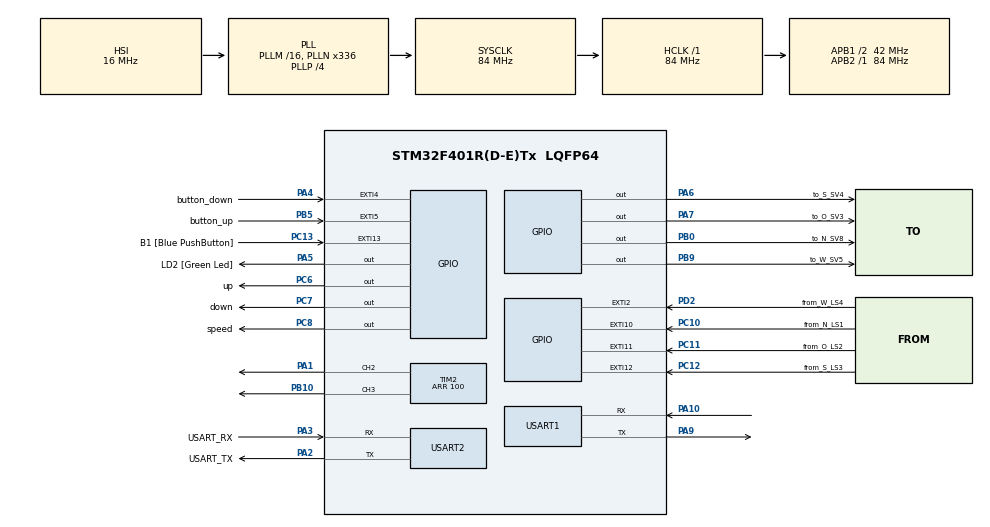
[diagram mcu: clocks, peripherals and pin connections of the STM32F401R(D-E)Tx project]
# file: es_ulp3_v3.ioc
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Dma.Request0=TIM2_CH3/UP
Dma.Request1=TIM2_CH2/CH4
Dma.TIM2_CH2/CH4.1.Direction=DMA_MEMORY_TO_PERIPH
Dma.TIM2_CH2/CH4.1.FIFOMode=DMA_FIFOMODE_DISABLE
Dma.TIM2_CH2/CH4.1.Instance=DMA1_Stream6
Dma.TIM2_CH2/CH4.1.MemDataAlignment=DMA_MDATAALIGN_WORD
Dma.TIM2_CH2/CH4.1.MemInc=DMA_MINC_ENABLE
Dma.TIM2_CH2/CH4.1.Mode=DMA_NORMAL
Dma.TIM2_CH2/CH4.1.PeriphDataAlignment=DMA_PDATAALIGN_WORD
Dma.TIM2_CH2/CH4.1.PeriphInc=DMA_PINC_DISABLE
Dma.TIM2_CH2/CH4.1.Priority=DMA_PRIORITY_VERY_HIGH
Dma.TIM2_CH3/UP.0.Direction=DMA_MEMORY_TO_PERIPH
Dma.TIM2_CH3/UP.0.FIFOMode=DMA_FIFOMODE_DISABLE
Dma.TIM2_CH3/UP.0.Instance=DMA1_Stream1
Dma.TIM2_CH3/UP.0.MemDataAlignment=DMA_MDATAALIGN_WORD
Dma.TIM2_CH3/UP.0.MemInc=DMA_MINC_ENABLE
Dma.TIM2_CH3/UP.0.Mode=DMA_NORMAL
Dma.TIM2_CH3/UP.0.PeriphDataAlignment=DMA_PDATAALIGN_WORD
Dma.TIM2_CH3/UP.0.PeriphInc=DMA_PINC_DISABLE
Dma.TIM2_CH3/UP.0.Priority=DMA_PRIORITY_LOW
Mcu.Family=STM32F4
Mcu.Name=STM32F401R(D-E)Tx
Mcu.Package=LQFP64
NVIC.DMA1_Stream1_IRQn=true\:0\:0\:false\:false\:true\:false\:true\:true
NVIC.DMA1_Stream6_IRQn=true\:0\:0\:false\:false\:true\:false\:true\:true
NVIC.EXTI15_10_IRQn=true\:0\:0\:false\:false\:true\:true\:true\:true
NVIC.EXTI2_IRQn=true\:0\:0\:false\:false\:true\:true\:true\:true
NVIC.EXTI4_IRQn=true\:0\:0\:false\:false\:true\:true\:true\:true
NVIC.EXTI9_5_IRQn=true\:0\:0\:false\:false\:true\:true\:true\:true
NVIC.FLASH_IRQn=true\:0\:0\:false\:false\:true\:true\:true\:true
NVIC.FPU_IRQn=true\:0\:0\:false\:false\:true\:true\:false\:true
NVIC.PVD_IRQn=true\:0\:0\:false\:false\:true\:true\:true\:true
NVIC.PriorityGroup=NVIC_PRIORITYGROUP_0
NVIC.RCC_IRQn=true\:0\:0\:false\:false\:true\:true\:false\:true
NVIC.USART1_IRQn=true\:0\:0\:false\:false\:true\:true\:true\:true
NVIC.USART2_IRQn=true\:0\:0\:false\:false\:true\:true\:true\:true
PA1.Signal=S_TIM2_CH2
PA10.Mode=Asynchronous
PA10.Signal=USART1_RX
PA13.GPIO_Label=TMS
PA13.Mode=Serial_Wire
PA13.Signal=SYS_JTMS-SWDIO
PA14.GPIO_Label=TCK
PA14.Mode=Serial_Wire
PA14.Signal=SYS_JTCK-SWCLK
PA2.GPIO_Label=USART_TX
PA2.GPIO_Mode=GPIO_MODE_AF_PP
PA2.GPIO_PuPd=GPIO_NOPULL
PA2.GPIO_Speed=GPIO_SPEED_FREQ_LOW
PA2.Mode=Asynchronous
PA2.Signal=USART2_TX
PA3.GPIO_Label=USART_RX
PA3.GPIO_Mode=GPIO_MODE_AF_PP
PA3.GPIO_PuPd=GPIO_NOPULL
PA3.GPIO_Speed=GPIO_SPEED_FREQ_LOW
PA3.Mode=Asynchronous
PA3.Signal=USART2_RX
PA4.GPIO_Label=button_down
PA4.GPIO_ModeDefaultEXTI=GPIO_MODE_IT_FALLING
PA4.GPIO_PuPd=GPIO_NOPULL
PA4.Signal=GPXTI4
PA5.GPIO_Label=LD2 [Green Led]
PA5.GPIO_Mode=GPIO_MODE_OUTPUT_PP
PA5.GPIO_PuPd=GPIO_NOPULL
PA5.GPIO_Speed=GPIO_SPEED_FREQ_LOW
PA5.Signal=GPIO_Output
PA6.GPIO_Label=to_S_SV4
PA6.Signal=GPIO_Output
PA7.GPIO_Label=to_O_SV3
PA7.Signal=GPIO_Output
PA9.Mode=Asynchronous
PA9.Signal=USART1_TX
PB0.GPIO_Label=to_N_SV8
PB0.Signal=GPIO_Output
PB10.Signal=S_TIM2_CH3
PB3.GPIO_Label=SWO
PB3.Signal=SYS_JTDO-SWO
PB5.GPIO_Label=button_up
PB5.GPIO_ModeDefaultEXTI=GPIO_MODE_IT_FALLING
PB5.Signal=GPXTI5
PB9.GPIO_Label=to_W_SV5
PB9.Signal=GPIO_Output
PC10.GPIO_Label=from_N_LS1
PC10.GPIO_PuPd=GPIO_PULLDOWN
PC10.Signal=GPXTI10
PC11.GPIO_Label=from_O_LS2
PC11.GPIO_PuPd=GPIO_PULLDOWN
PC11.Signal=GPXTI11
PC12.GPIO_Label=from_S_LS3
PC12.GPIO_PuPd=GPIO_PULLDOWN
PC12.Signal=GPXTI12
PC13-ANTI_TAMP.GPIO_Label=B1 [Blue PushButton]
PC13-ANTI_TAMP.GPIO_ModeDefaultEXTI=GPIO_MODE_IT_FALLING
PC13-ANTI_TAMP.GPIO_PuPd=GPIO_NOPULL
PC13-ANTI_TAMP.Signal=GPXTI13
PC14-OSC32_IN.Mode=LSE-External-Oscillator
PC14-OSC32_IN.Signal=RCC_OSC32_IN
PC15-OSC32_OUT.Mode=LSE-External-Oscillator
PC15-OSC32_OUT.Signal=RCC_OSC32_OUT
PC6.GPIO_Label=up
PC6.Signal=GPIO_Output
PC7.GPIO_Label=down
PC7.Signal=GPIO_Output
PC8.GPIO_Label=speed
PC8.Signal=GPIO_Output
PD2.GPIO_Label=from_W_LS4
PD2.GPIO_PuPd=GPIO_PULLDOWN
PD2.Signal=GPXTI2
PH0\ -\ OSC_IN.Mode=HSE-External-Clock-Source
PH0\ -\ OSC_IN.Signal=RCC_OSC_IN
PH1\ -\ OSC_OUT.Mode=HSE-External-Clock-Source
PH1\ -\ OSC_OUT.Signal=RCC_OSC_OUT
ProjectManager.HeapSize=0x200
ProjectManager.StackSize=0x400
ProjectManager.TargetToolchain=STM32CubeIDE
RCC.48MHZClocksFreq_Value=48000000
RCC.AHBFreq_Value=84000000
RCC.APB1CLKDivider=RCC_HCLK_DIV2
RCC.APB1Freq_Value=42000000
RCC.APB1TimFreq_Value=84000000
RCC.APB2Freq_Value=84000000
RCC.APB2TimFreq_Value=84000000
RCC.CortexFreq_Value=84000000
RCC.HCLKFreq_Value=84000000
RCC.HSE_VALUE=8000000
RCC.HSI_VALUE=16000000
RCC.PLLN=336
RCC.PLLP=RCC_PLLP_DIV4
RCC.PLLQ=7
RCC.SYSCLKFreq_VALUE=84000000
RCC.SYSCLKSource=RCC_SYSCLKSOURCE_PLLCLK
RCC.VCOOutputFreq_Value=336000000
SH.S_TIM2_CH2.0=TIM2_CH2,PWM Generation2 CH2
SH.S_TIM2_CH3.0=TIM2_CH3,PWM Generation3 CH3
TIM2.Channel-PWM\ Generation2\ CH2=TIM_CHANNEL_2
TIM2.Channel-PWM\ Generation3\ CH3=TIM_CHANNEL_3
TIM2.Period=100
USART1.VirtualMode=VM_ASYNC
USART2.VirtualMode=VM_ASYNC
VP_TIM2_VS_ClockSourceINT.Mode=Internal
board=NUCLEO-F401RE

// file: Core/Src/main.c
/* USER CODE BEGIN Header */
/**
  ******************************************************************************
  * @file           : main.c
  * @brief          : Main program body
  ******************************************************************************
  * @attention
  *
  * Copyright (c) 2024 STMicroelectronics.
  * All rights reserved.
  *
  * This software is licensed under terms that can be found in the LICENSE file
  * in the root directory of this software component.
  * If no LICENSE file comes with this software, it is provided AS-IS.
  *
  ******************************************************************************
  */
/* USER CODE END Header */
#include "main.h"

/* USER CODE BEGIN Includes */
#include <stdbool.h>
#include <string.h>
#include <stdio.h>
/* USER CODE END Includes */

/* USER CODE BEGIN PTD */
typedef uint8_t crc;
typedef enum {FALSE, TRUE} BOOL;
enum
{
  C_WHITE, C_RED, C_GREEN, C_BLUE,
  C_CYAN, C_MAGENTA, C_YELLOW, C_BROWN,
  C_LIME, C_OLIVE, C_ORANGE, C_PINK,
  C_PURPLE, C_TEAL, C_VIOLET, C_MAUVE,
};

typedef union
{
  struct
  {
    uint8_t b; // blue
    uint8_t r; // red
    uint8_t g; // green
  } color; // color
  uint32_t data;
} PixelRGB_t;
/* USER CODE END PTD */

/* USER CODE BEGIN PD */
#define debounceDelay 150

//Elevator stuff
#define MOTORGPIO GPIOC
#define stay 0
#define up 1
#define down 2

#define MMCP_MASTER_ADDRESS 0
#define MMCP_VERSION 6
#define L7_PDU_size 9
#define L7_SDU_size 8
#define L7_PCI_size 1
#define L3_PDU_size 13
#define L3_SDU_size 9
#define L3_PCI_size 4
#define L2_PDU_size 14
#define L2_SDU_size 13
#define L2_PCI_size 1
#define L1_PDU_size 16
#define L1_SDU_size 14
#define L1_PCI_size 2

#define NUM_NEIGHBOURS 4
#define STORAGE_SIZE 6
#define RGB_DATA_LEN (LED_COUNT * 24)
#define LAGER_SIZE 6

// CRC defines
#define WIDTH  (8 * sizeof(crc))
#define TOPBIT (1 << (WIDTH - 1))
#define POLYNOMIAL 0x9b

/* LED stuff */
#define NEOPIXEL_ZERO 34
#define NEOPIXEL_ONE 67

/*Neighbours*/
#define NEIGHBOUR_ID_SOUTH 0
#define NEIGHBOUR_ID_NORTH 0
#define NEIGHBOUR_ID_EAST 0
#define NEIGHBOUR_ID_WEST 55

#define otherElevatorAddress 55
/* USER CODE END PD */

TIM_HandleTypeDef htim2;
DMA_HandleTypeDef hdma_tim2_ch3_up;
DMA_HandleTypeDef hdma_tim2_ch2_ch4;

UART_HandleTypeDef huart1;
UART_HandleTypeDef huart2;

/* USER CODE BEGIN PV */
const uint16_t neighbourSendPins[NUM_NEIGHBOURS] = {to_S_SV4_Pin, to_N_SV8_Pin, to_O_SV3_Pin, to_W_SV5_Pin};
const uint8_t neighbourIDs[NUM_NEIGHBOURS] = {
	NEIGHBOUR_ID_SOUTH,
	NEIGHBOUR_ID_NORTH,
    NEIGHBOUR_ID_EAST,
    NEIGHBOUR_ID_WEST
};
uint8_t L7_SDU[L7_SDU_size];
// Speicher
uint8_t state;
uint8_t errorId;
uint8_t partnerId;
uint8_t packageId;
uint8_t fromId;
uint8_t toId;
uint8_t storage[6] = {0};
uint8_t tempStorage[6] = {0};
uint8_t ApNr;
uint8_t direction;
uint32_t myAddress = 63;
uint8_t NUM_PIXELS = 8;
uint8_t DMA_BUFF_SIZE = (8 * 24) + 1;

// Kontrollfluesse
bool receive = false;
bool passOn = false;
bool create = false;
bool deliver = false;
bool poll = false;
bool await = false;
bool finishedSend = false;
bool finishedStore = false;
bool failure = false;
bool receivedSDU = false;
bool GPIO_neighbour_in = false;
bool pushedButton = false;
bool positionReached = false;

//LED Sachen
uint32_t dmaBuffer[193] = {0};
uint32_t *pBuff;
uint8_t LEDColors[17][3] = { {0, 0, 0}, {255, 255, 255},  {255, 0, 0},
		 {0, 255, 0},  {0, 0, 255},  {0, 255, 255},
		 {255, 0, 255},  {255, 255, 0},  {191, 128, 64},
		 {191, 255, 0},  {128, 128, 0},  {255, 128, 0},
		 {255, 191, 191},  {191, 0, 64},  {0, 128, 128},
		 {128, 0, 128},  {224, 176, 255} };
PixelRGB_t pixels[8] = {0};
BOOL timer_irq = FALSE; // gets set HIGH every 100ms
PixelRGB_t leds[4] = {0};

// Zustandstyp + Zustandsvariable
typedef enum {Z_idle, Z_processing, Z_failure, Z_deliver, Z_passOn, Z_sent, Z_awaiting, Z_received, Z_elevate} zustand_t;
zustand_t zustand;

// Aktionentyp + Aktionsvariable
typedef enum {A_idle, A_setup,A_updateLager, A_await, A_create, A_deliver, A_passOn, A_forwardAwait, A_failure, A_pulse, A_handleStore, A_storeAwait, A_storeCreate, A_checkFailure, A_forwardAgain, A_elevate} aktion_t;
aktion_t aktion;

/* USER CODE END PV */

void SystemClock_Config(void);
static void MX_GPIO_Init(void);
static void MX_DMA_Init(void);
static void MX_USART2_UART_Init(void);
static void MX_TIM2_Init(void);
static void MX_USART1_UART_Init(void);

/* USER CODE BEGIN PFP */
void HAL_UART_RxCpltCallback(UART_HandleTypeDef *huart);
void HAL_UART_TxCpltCallback(UART_HandleTypeDef *huart);
void HAL_GPIO_EXTI_Callback ( uint16_t GPIO_Pin );

void L1_receive(uint8_t L1_PDU[L1_PDU_size]);
void L2_receive(uint8_t L2_PDU[L2_PDU_size]);
void L3_receive(uint8_t L3_PDU[L3_PDU_size]);
void L7_receive(uint8_t L7_PDU[L7_PDU_size]);

void L7_send(uint8_t Id, uint8_t L7_SDU[L7_SDU_size]);
void L3_send(uint8_t L3_SDU[L3_SDU_size]);
void L2_send(uint8_t L2_SDU[L2_SDU_size]);
void L1_send(uint8_t L1_SDU[L1_SDU_size]);

void ApNr_42(uint8_t L7_SDU[], uint8_t L7_SDU_send[]);
void ApNr_43(uint8_t L7_SDU[], uint8_t L7_SDU_send[]);
void ApNr_44(uint8_t L7_SDU[], uint8_t L7_SDU_send[]);
void ApNr_50(uint8_t L7_SDU[], uint8_t L7_SDU_send[]);

void HAL_Delay(uint32_t Delay);
void stateProcessing(void);
void stateAwait(void);
void stateReceived(void);
void stateSent(void);
void stateFailure(void);
void handleStore(void);
void handleSend(void);
void updateLager(void);
void animateSentStorage(void);
void animateReceiveStorage(void);
void animateCreate(void);
void animateDeliver(void);
void animateSentElevator(void);
void animateReceiveElevator(void);
void pulse(void);
void handleForward(void);
void resetData(void);
void forwardReset(void);
void resetAufzug(void);
void Aufzugfahr(void);
void resetPulse(void);
void resetLEDs(void);
/* USER CODE END PFP */

/* USER CODE BEGIN 0 */
void HAL_TIM_PWM_PulseFinishedCallback(TIM_HandleTypeDef *htim)
{
  HAL_TIM_PWM_Stop_DMA(htim, TIM_CHANNEL_3);
  HAL_TIM_PWM_Stop_DMA(htim, TIM_CHANNEL_2);
}

void stateProcessing(void) {
	state = 0;
}

void stateAwait(void) {
	state = 1;
}

void stateReceived(void) {
	state = 2;
}

void stateSent(void) {
	state = 3;
}

void stateFailure(void) {
    state = 4;
}

//void simulateButtonPress(void) {
//    HAL_GPIO_EXTI_Callback(B1_Pin);
//}
void resetPulse(){
	GPIO_neighbour_in = false;
}
//HIER DIE LED BEGINN
void writeLEDs(PixelRGB_t* pixel){
	int i,j;

	pBuff = dmaBuffer;
	  for (i = 0; i < NUM_PIXELS; i++)
	  {
		 for (j = 23; j >= 0; j--)
		 {
		   if ((pixel[i].data >> j) & 0x01)
		   {
			 *pBuff = NEOPIXEL_ONE;
		   }
		   else
		   {
			 *pBuff = NEOPIXEL_ZERO;
		   }
		   pBuff++;
	   }
	  }
	  dmaBuffer[DMA_BUFF_SIZE - 1] = 0; // last element must be 0!
	  //decide which channel to use depends which leds should work
	  if(NUM_PIXELS == 8){
		  HAL_TIM_PWM_Start_DMA(&htim2, TIM_CHANNEL_3, dmaBuffer, DMA_BUFF_SIZE);
	  }
	  if(NUM_PIXELS == 4){
		  HAL_TIM_PWM_Start_DMA(&htim2, TIM_CHANNEL_2, dmaBuffer, DMA_BUFF_SIZE);
	  }
}
void resetLEDs(void){
	NUM_PIXELS = 4;
	DMA_BUFF_SIZE = (NUM_PIXELS * 24) + 1;
	if(partnerId == NEIGHBOUR_ID_WEST || toId == NEIGHBOUR_ID_WEST){
		leds[0].color.g = 0;
		leds[0].color.r = 0;
		leds[0].color.b = 0;
	}
	if(partnerId == NEIGHBOUR_ID_SOUTH || toId == NEIGHBOUR_ID_SOUTH){
		leds[1].color.g = 0;
		leds[1].color.r = 0;
		leds[1].color.b = 0;
	}
	if(partnerId == NEIGHBOUR_ID_NORTH || toId == NEIGHBOUR_ID_NORTH){
		leds[2].color.g = 0;
		leds[2].color.r = 0;
		leds[2].color.b = 0;
	}
	if(partnerId == NEIGHBOUR_ID_EAST || toId == NEIGHBOUR_ID_EAST){
		leds[3].color.g = 0;
		leds[3].color.r = 0;
		leds[3].color.b = 0;
	}
	writeLEDs(leds);
}
void animateSentStorage(void){
	uint8_t i = 0;
	NUM_PIXELS = 8;
	DMA_BUFF_SIZE = (NUM_PIXELS * 24) + 1;
	// find index of Lager, were packageId was stored
	for(i = 0; i < LAGER_SIZE; i++){
		if(storage[i] == packageId){
			break;
		}
	}
	//STORAGE LEDS
	// turn off corresponding LED
	pixels[i+1].color.g = 0;
	pixels[i+1].color.r = 0;
	pixels[i+1].color.b = 0;
	writeLEDs(pixels);

			pixels[7].color.g = (uint8_t)LEDColors[packageId][1]*0.1;
			pixels[7].color.r = (uint8_t)LEDColors[packageId][0]*0.1;
			pixels[7].color.b = (uint8_t)LEDColors[packageId][2]*0.1;
			writeLEDs(pixels);
			HAL_Delay(200);
			pixels[7].color.g = 0;
			pixels[7].color.r = 0;
			pixels[7].color.b = 0;
			writeLEDs(pixels);
			HAL_Delay(200);
	// display current Lager
	for(i = 0; i < LAGER_SIZE; i++){
		pixels[i+1].color.g = (uint8_t)LEDColors[tempStorage[i]][1]*0.1;
		pixels[i+1].color.r = (uint8_t)LEDColors[tempStorage[i]][0]*0.1;
		pixels[i+1].color.b = (uint8_t)LEDColors[tempStorage[i]][2]*0.1;

	}
	writeLEDs(pixels);
}
void animateReceiveStorage(void){
	NUM_PIXELS = 8;
	DMA_BUFF_SIZE = (NUM_PIXELS * 24) + 1;
			pixels[0].color.g = (uint8_t)LEDColors[packageId][1]*0.1;
			pixels[0].color.r = (uint8_t)LEDColors[packageId][0]*0.1;
			pixels[0].color.b = (uint8_t)LEDColors[packageId][2]*0.1;
			writeLEDs(pixels);
			HAL_Delay(200);
			pixels[0].color.g = 0;
			pixels[0].color.r = 0;
			pixels[0].color.b = 0;
			writeLEDs(pixels);
			HAL_Delay(200);
	// display current Lager
	for(int i = 0; i < LAGER_SIZE; i++){
		pixels[i+1].color.g = (uint8_t)LEDColors[tempStorage[i]][1]*0.1;
		pixels[i+1].color.r = (uint8_t)LEDColors[tempStorage[i]][0]*0.1;
		pixels[i+1].color.b = (uint8_t)LEDColors[tempStorage[i]][2]*0.1;

	}
	writeLEDs(pixels);
}
void animateCreate(void){
	uint8_t i = 0;
	NUM_PIXELS = 8;
	DMA_BUFF_SIZE = (NUM_PIXELS * 24) + 1;
	// find index of tempLager, were packageId is stored
	for(i = 0; i < LAGER_SIZE; i++){
		if(tempStorage[i] == packageId){
			break;
		}
	}

			pixels[i+1].color.g = (uint8_t)LEDColors[packageId][1]*0.1;
			pixels[i+1].color.r = (uint8_t)LEDColors[packageId][0]*0.1;
			pixels[i+1].color.b = (uint8_t)LEDColors[packageId][2]*0.1;
			writeLEDs(pixels);
			HAL_Delay(200);
			pixels[i+1].color.g = 0;
			pixels[i+1].color.r = 0;
			pixels[i+1].color.b = 0;
			writeLEDs(pixels);
			HAL_Delay(200);

	// display current Lager
	for(i = 0; i < LAGER_SIZE; i++){
		pixels[i+1].color.g = (uint8_t)LEDColors[tempStorage[i]][1]*0.1;
		pixels[i+1].color.r = (uint8_t)LEDColors[tempStorage[i]][0]*0.1;
		pixels[i+1].color.b = (uint8_t)LEDColors[tempStorage[i]][2]*0.1;

	}
	writeLEDs(pixels);
}
void animateDeliver(void){
	uint8_t i = 0;
	NUM_PIXELS = 8;
	DMA_BUFF_SIZE = (NUM_PIXELS * 24) + 1;
	// find index of Lager, were packageId was stored
	for(i = 0; i < LAGER_SIZE; i++){
		if(storage[i] == packageId){
			break;
		}
	}

			pixels[i+1].color.g = (uint8_t)LEDColors[packageId][1]*0.1;
			pixels[i+1].color.r = (uint8_t)LEDColors[packageId][0]*0.1;
			pixels[i+1].color.b = (uint8_t)LEDColors[packageId][2]*0.1;
			writeLEDs(pixels);
			//HAL_Delay(10); SorageIntegrity Test hängt sich auf mit der Animation
			pixels[i+1].color.g = 0;
			pixels[i+1].color.r = 0;
			pixels[i+1].color.b = 0;
			writeLEDs(pixels);
			//HAL_Delay(10);

	// display current Lager
	for(int i = 0; i < LAGER_SIZE; i++){
		pixels[i+1].color.g = (uint8_t)LEDColors[tempStorage[i]][1]*0.1;
		pixels[i+1].color.r = (uint8_t)LEDColors[tempStorage[i]][0]*0.1;
		pixels[i+1].color.b = (uint8_t)LEDColors[tempStorage[i]][2]*0.1;

	}
	writeLEDs(pixels);
}
//HIER DIE LED ENDE
//HIER AUFZUG BEGINN
void animateSentElevator(void){
	//Hier Aufzug fahren lassen
	if(partnerId == otherElevatorAddress || toId == otherElevatorAddress || partnerId == myAddress || toId == myAddress){ //hier Id des Nachbarn mit dem anderen Aufzug
		direction = up;
		Aufzugfahr();
	}

	//äußere LEDs steuern
	NUM_PIXELS = 4;
	DMA_BUFF_SIZE = (NUM_PIXELS * 24) + 1;
	if(partnerId == NEIGHBOUR_ID_NORTH || toId == NEIGHBOUR_ID_NORTH){
		leds[0].color.g = (uint8_t)LEDColors[packageId][1]*0.1;
		leds[0].color.r = (uint8_t)LEDColors[packageId][0]*0.1;
		leds[0].color.b = (uint8_t)LEDColors[packageId][2]*0.1;
	}
	if(partnerId == NEIGHBOUR_ID_EAST || toId == NEIGHBOUR_ID_EAST){
		leds[1].color.g = (uint8_t)LEDColors[packageId][1]*0.1;
		leds[1].color.r = (uint8_t)LEDColors[packageId][0]*0.1;
		leds[1].color.b = (uint8_t)LEDColors[packageId][2]*0.1;
	}
	if(partnerId == NEIGHBOUR_ID_SOUTH || toId == NEIGHBOUR_ID_SOUTH){
		leds[2].color.g = (uint8_t)LEDColors[packageId][1]*0.1;
		leds[2].color.r = (uint8_t)LEDColors[packageId][0]*0.1;
		leds[2].color.b = (uint8_t)LEDColors[packageId][2]*0.1;
	}
	if(partnerId == NEIGHBOUR_ID_WEST || toId == NEIGHBOUR_ID_WEST){
		leds[3].color.g = (uint8_t)LEDColors[packageId][1]*0.1;
		leds[3].color.r = (uint8_t)LEDColors[packageId][0]*0.1;
		leds[3].color.b = (uint8_t)LEDColors[packageId][2]*0.1;
	}
	writeLEDs(leds);
}
void animateReceiveElevator(void){
	//Hier Aufzug fahren lassen
	if(partnerId == otherElevatorAddress || toId == otherElevatorAddress || partnerId == myAddress || toId == myAddress){ //hier Id des Nachbarn mit dem anderen Aufzug
		direction = up;
		Aufzugfahr();
	}

	//hier selbstgeklebte LEDs
	NUM_PIXELS = 4;
	DMA_BUFF_SIZE = (NUM_PIXELS * 24) + 1;
	if(partnerId == NEIGHBOUR_ID_NORTH || toId == NEIGHBOUR_ID_NORTH){
		leds[0].color.g = (uint8_t)LEDColors[packageId][1]*0.1;
		leds[0].color.r = (uint8_t)LEDColors[packageId][0]*0.1;
		leds[0].color.b = (uint8_t)LEDColors[packageId][2]*0.1;
	}
	if(partnerId == NEIGHBOUR_ID_EAST || toId == NEIGHBOUR_ID_EAST){
		leds[1].color.g = (uint8_t)LEDColors[packageId][1]*0.1;
		leds[1].color.r = (uint8_t)LEDColors[packageId][0]*0.1;
		leds[1].color.b = (uint8_t)LEDColors[packageId][2]*0.1;
	}
	if(partnerId == NEIGHBOUR_ID_SOUTH || toId == NEIGHBOUR_ID_SOUTH){
		leds[2].color.g = (uint8_t)LEDColors[packageId][1]*0.1;
		leds[2].color.r = (uint8_t)LEDColors[packageId][0]*0.1;
		leds[2].color.b = (uint8_t)LEDColors[packageId][2]*0.1;
	}
	if(partnerId == NEIGHBOUR_ID_WEST || toId == NEIGHBOUR_ID_WEST){
		leds[3].color.g = (uint8_t)LEDColors[packageId][1]*0.1;
		leds[3].color.r = (uint8_t)LEDColors[packageId][0]*0.1;
		leds[3].color.b = (uint8_t)LEDColors[packageId][2]*0.1;
	}
	writeLEDs(leds);
}

void resetAufzug(void){
	if(positionReached){
		direction = down;
		Aufzugfahr();
	}
}
//HIER AUFZUG ENDE

void deployPackage(void) {
		// copy storage to tempStorage
		for(int i = 0; i < STORAGE_SIZE; i++){
			tempStorage[i] = storage[i];
		}
		// put package in first free spot (0) in tempStorage
		for(int i = 0; i < STORAGE_SIZE; i++){
			if(tempStorage[i] == 0){
				tempStorage[i] = packageId;
				break;
			}
		}
		finishedStore = true;
}

void handleSend(void){
	int i;
	// copy Lager to tempLager
	for(i = 0; i < STORAGE_SIZE; i++){
		tempStorage[i] = storage[i];
	}

	// delete package out of tempLager
	for(i = 0; i < STORAGE_SIZE; i++){
		if(tempStorage[i] == packageId){
			tempStorage[i] = 0;
			break;
		}
	}

	finishedSend = TRUE;
}

void updateStorage(void) {
		// copy tempStorage to storage
		for(int i = 0; i < STORAGE_SIZE; i++){
			storage[i] = tempStorage[i];
		}
}

void sendPulse(void) {
	uint8_t partnerNumber = 0;
		for(int i = 0; i < NUM_NEIGHBOURS; i++){
			if(neighbourIDs[i] == partnerId){
				partnerNumber = i;
				break;
			}
		}
		// toggle corresponding pin for 1ms; keine Unterscheidung für Ports A und B
		HAL_GPIO_WritePin (GPIOA, neighbourSendPins[partnerNumber], GPIO_PIN_SET);
		HAL_GPIO_WritePin (GPIOB, neighbourSendPins[partnerNumber], GPIO_PIN_SET);
		HAL_Delay(10);
		HAL_GPIO_WritePin (GPIOA, neighbourSendPins[partnerNumber], GPIO_PIN_RESET);
		HAL_GPIO_WritePin (GPIOB, neighbourSendPins[partnerNumber], GPIO_PIN_RESET);
		HAL_Delay(10);
}

void checkFailure(void){
	BOOL lagerFull = TRUE;
	BOOL packetInLager = FALSE;
	BOOL packetNoExist = TRUE;
	BOOL unknownNeighbour = TRUE;
	BOOL unknownPacket = FALSE;

	int i;

	// check if neighbour is known
	if(partnerId == 0){
		unknownNeighbour = FALSE; // neighbourId is valid
	}
	for(i = 0; i < NUM_NEIGHBOURS; i++){
		if(partnerId == neighbourIDs[i]){
			unknownNeighbour = FALSE; // neighbourId is valid
			break;
		}
	}

	if(ApNr == 42){ // create or await is set
		// check if Lager is already completely filled
		for(i = 0; i < STORAGE_SIZE; i++){
			if(storage[i] == 0){
				lagerFull = FALSE; // Lager is not completely filled
				break;
			}
		}

		packetNoExist = FALSE;
		// check if packageId is already stored in Lager
		for(i = 0; i < STORAGE_SIZE; i++){
			if(storage[i] == packageId){
				packetInLager = TRUE; // packageId already exists in Lager
				break;
			}
		}
	}
///hallo
	if(ApNr == 43){ // deliver or passOn is set
			lagerFull = FALSE;
			packetInLager = FALSE;
			packetNoExist = FALSE;
	}

	if(ApNr == 44){ // deliver or passOn is set
		lagerFull = FALSE;

		// Check if packageId exists in Lager
		for(i = 0; i < STORAGE_SIZE; i++){
			if(storage[i] == packageId){
				packetNoExist = FALSE; // packageId does exist in Lager
			}
		}
	}

	// check if package has a valid number
	if((packageId < 0) || (packageId > 16)){
		unknownPacket = TRUE;
	}

	// set errorId according to failure
	if(packetInLager){
		failure = TRUE;
		errorId = 1;
	}
	else if(lagerFull){
		failure = TRUE;
		errorId = 2;
	}
	else if(packetNoExist){
		failure = TRUE;
		errorId = 3;
	}
	else if(unknownNeighbour){
		failure = TRUE;
		errorId = 4;
	}
	else if(unknownPacket){
		failure = TRUE;
		errorId = 5;
	}
}

uint8_t rxBuffer[L1_PDU_size];
uint8_t L1_PDU[L1_PDU_size] = {0};
uint32_t cnt = 0;
uint32_t lastDebounceTime = 0;
bool uartDataSendable = true;

void std(void){
	switch(zustand){
	case Z_idle:
		if (receivedSDU){
			aktion = A_checkFailure;
			zustand = Z_processing;
			receivedSDU = FALSE;
		}
		else if(poll || (!receivedSDU)){
			aktion = A_idle;
			poll = FALSE;
		}
		break;

	case Z_processing:
		if (create && (!failure)){								//Erzeugen
			aktion = A_create;
			zustand = Z_awaiting;
			poll = FALSE;
		}
		else if (await && !passOn && (!failure)){				//Erwarten
			aktion = A_elevate;
			zustand = Z_elevate;
		}
		else if (deliver && (!failure)){						//Abliefern
			aktion = A_deliver;
			zustand = Z_deliver;
		}
		else if (passOn && !await && (!failure)){				//Versenden bzw. Forwarding nach Empfang
			aktion = A_passOn;
			zustand = Z_passOn;
		}
		else if ((await && passOn) && (!failure)){				//Forwarding vor Empfang
			aktion = A_elevate;
			zustand = Z_elevate;
		}
		else if (failure){
			aktion = A_failure;
			zustand = Z_failure;
			poll = FALSE;
		}
		break;

	case Z_failure:
		if(poll){
			aktion = A_setup;
			zustand = Z_idle;
			poll = FALSE;
		}
		break;

	case Z_deliver:					//abliefern an Master
		if (poll && finishedSend){
			aktion = A_updateLager;
			zustand = Z_sent;
			poll = FALSE;
		}
		break;

	case Z_passOn:					//ausliefern an Nachbarn
		if (poll && finishedSend && positionReached){
			aktion = A_pulse;
			zustand = Z_sent;
			poll = FALSE;
		}
		break;

	case Z_sent:					//Senden abgeschlossen mit Ankunft des , also alles zurücksetzen
		if (poll){
			aktion = A_setup;
			zustand = Z_idle;
			poll = FALSE;
		}
		break;

	case Z_awaiting:
		if(GPIO_neighbour_in && (await && !passOn)){ 	//Erwarten
			aktion = A_storeAwait;
			zustand = Z_received;
			poll = FALSE;
		}
		else if (poll && finishedStore && create){		//Erzeugen
			aktion = A_storeCreate;
			zustand = Z_received;
			poll = FALSE;
		}
		else if ((await && passOn) && GPIO_neighbour_in){ //weiterleiten
			aktion = A_forwardAwait;
			zustand = Z_received;
			poll = FALSE;
		}
		break;

	case Z_received:
		if(poll && (await && passOn)){			//Forwarding
			aktion = A_forwardAgain;
			zustand = Z_processing;
			poll = FALSE;
			}

		else if (poll && (!await || !passOn)){ 	//Erwarten und Erzeugen
			aktion = A_setup;
			zustand = Z_idle;
			poll = FALSE;
		}
		else if(!poll){
			aktion = A_idle;
		}
		break;

	case Z_elevate:
		if(fromId == otherElevatorAddress || partnerId == otherElevatorAddress){
			if(positionReached == true){
				aktion = A_await;
				zustand = Z_awaiting;
				positionReached = false;
				poll = FALSE;
			}
		}else{
			aktion = A_await;
			zustand = Z_awaiting;
			poll = FALSE;
		}
		break;
	}
}

void pat(void){
	switch(aktion){
	case A_setup:
		resetAufzug();
		resetData();
		stateProcessing();
		resetLEDs();
		break;
	case A_deliver:
		stateProcessing();
		handleSend();
		break;
	case A_passOn:
		stateProcessing();
		handleSend();
		animateSentElevator();
		break;
	case A_failure:
		stateFailure();
		break;
	case A_pulse:
		updateStorage();
		stateSent();
		animateSentStorage();
		sendPulse();
		break;
	case A_updateLager:
		animateDeliver();
		updateStorage();
		//stateSent();
		stateProcessing();
		break;
	case A_forwardAgain:
		resetAufzug();
		forwardReset();
		stateProcessing();
		break;
	case A_forwardAwait:
		stateReceived();
		resetPulse();
		break;
	case A_await:
		break;
	case A_create:
		stateAwait();
		deployPackage();
		break;
	case A_handleStore:
		deployPackage();
		break;
	case A_storeAwait:
		deployPackage();
		updateStorage();
		stateReceived();
		resetPulse();
		animateReceiveStorage();
		break;
	case A_storeCreate:
		animateCreate();
		updateStorage();
		stateReceived();
		break;
	case A_checkFailure:
		checkFailure();
		stateProcessing();
		break;
	case A_elevate:
		animateReceiveElevator();
		break;
	case A_idle:
		break;
	}
	aktion = A_idle;
}
/* USER CODE END 0 */

int main(void)
{

  /* MCU Configuration--------------------------------------------------------*/

  /* Reset of all peripherals, Initializes the Flash interface and the Systick. */
  HAL_Init();

  /* Configure the system clock */
  SystemClock_Config();

  /* Initialize all configured peripherals */
  MX_GPIO_Init();
  MX_DMA_Init();
  MX_USART2_UART_Init();
  MX_TIM2_Init();
  MX_USART1_UART_Init();
  /* USER CODE BEGIN 2 */
	HAL_UART_Receive_IT(&huart1, rxBuffer, sizeof(rxBuffer));
	// Zustandsuebergangsdiagramm und Aufzüge reset
  	direction = up;
  	Aufzugfahr();
  	HAL_Delay(500);
  	direction = down;
  	Aufzugfahr();
  	direction = up;

  	//alles in den Startzustand bringen
  	zustand = Z_idle;
    aktion = A_idle;
    pat();
    //LEDs Zurücksetzen
    for(int i = 0; i < NUM_PIXELS; i++){
    		pixels[i].color.g = 0;
    		pixels[i].color.r = 0;
    		pixels[i].color.b = 0;
    }
    NUM_PIXELS = 8;
    DMA_BUFF_SIZE = (NUM_PIXELS * 24) + 1;
    writeLEDs(pixels);
  /* USER CODE END 2 */

  /* Infinite loop */
  while (1)
  {

    /* USER CODE BEGIN 3 */
	  	  std();
	  	  pat();
  }
  /* USER CODE END 3 */
}

void SystemClock_Config(void)
{
  RCC_OscInitTypeDef RCC_OscInitStruct = {0};
  RCC_ClkInitTypeDef RCC_ClkInitStruct = {0};

  /** Configure the main internal regulator output voltage
  */
  __HAL_RCC_PWR_CLK_ENABLE();
  __HAL_PWR_VOLTAGESCALING_CONFIG(PWR_REGULATOR_VOLTAGE_SCALE2);

  /** Initializes the RCC Oscillators according to the specified parameters
  * in the RCC_OscInitTypeDef structure.
  */
  RCC_OscInitStruct.OscillatorType = RCC_OSCILLATORTYPE_HSI;
  RCC_OscInitStruct.HSIState = RCC_HSI_ON;
  RCC_OscInitStruct.HSICalibrationValue = RCC_HSICALIBRATION_DEFAULT;
  RCC_OscInitStruct.PLL.PLLState = RCC_PLL_ON;
  RCC_OscInitStruct.PLL.PLLSource = RCC_PLLSOURCE_HSI;
  RCC_OscInitStruct.PLL.PLLM = 16;
  RCC_OscInitStruct.PLL.PLLN = 336;
  RCC_OscInitStruct.PLL.PLLP = RCC_PLLP_DIV4;
  RCC_OscInitStruct.PLL.PLLQ = 7;
  if (HAL_RCC_OscConfig(&RCC_OscInitStruct) != HAL_OK)
  {
    Error_Handler();
  }

  /** Initializes the CPU, AHB and APB buses clocks
  */
  RCC_ClkInitStruct.ClockType = RCC_CLOCKTYPE_HCLK|RCC_CLOCKTYPE_SYSCLK
                              |RCC_CLOCKTYPE_PCLK1|RCC_CLOCKTYPE_PCLK2;
  RCC_ClkInitStruct.SYSCLKSource = RCC_SYSCLKSOURCE_PLLCLK;
  RCC_ClkInitStruct.AHBCLKDivider = RCC_SYSCLK_DIV1;
  RCC_ClkInitStruct.APB1CLKDivider = RCC_HCLK_DIV2;
  RCC_ClkInitStruct.APB2CLKDivider = RCC_HCLK_DIV1;

  if (HAL_RCC_ClockConfig(&RCC_ClkInitStruct, FLASH_LATENCY_2) != HAL_OK)
  {
    Error_Handler();
  }
}

static void MX_TIM2_Init(void)
{

  TIM_ClockConfigTypeDef sClockSourceConfig = {0};
  TIM_MasterConfigTypeDef sMasterConfig = {0};
  TIM_OC_InitTypeDef sConfigOC = {0};

  htim2.Instance = TIM2;
  htim2.Init.Prescaler = 0;
  htim2.Init.CounterMode = TIM_COUNTERMODE_UP;
  htim2.Init.Period = 100;
  htim2.Init.ClockDivision = TIM_CLOCKDIVISION_DIV1;
  htim2.Init.AutoReloadPreload = TIM_AUTORELOAD_PRELOAD_DISABLE;
  if (HAL_TIM_Base_Init(&htim2) != HAL_OK)
  {
    Error_Handler();
  }
  sClockSourceConfig.ClockSource = TIM_CLOCKSOURCE_INTERNAL;
  if (HAL_TIM_ConfigClockSource(&htim2, &sClockSourceConfig) != HAL_OK)
  {
    Error_Handler();
  }
  if (HAL_TIM_PWM_Init(&htim2) != HAL_OK)
  {
    Error_Handler();
  }
  sMasterConfig.MasterOutputTrigger = TIM_TRGO_RESET;
  sMasterConfig.MasterSlaveMode = TIM_MASTERSLAVEMODE_DISABLE;
  if (HAL_TIMEx_MasterConfigSynchronization(&htim2, &sMasterConfig) != HAL_OK)
  {
    Error_Handler();
  }
  sConfigOC.OCMode = TIM_OCMODE_PWM1;
  sConfigOC.Pulse = 0;
  sConfigOC.OCPolarity = TIM_OCPOLARITY_HIGH;
  sConfigOC.OCFastMode = TIM_OCFAST_DISABLE;
  if (HAL_TIM_PWM_ConfigChannel(&htim2, &sConfigOC, TIM_CHANNEL_2) != HAL_OK)
  {
    Error_Handler();
  }
  if (HAL_TIM_PWM_ConfigChannel(&htim2, &sConfigOC, TIM_CHANNEL_3) != HAL_OK)
  {
    Error_Handler();
  }
  HAL_TIM_MspPostInit(&htim2);

}

static void MX_USART1_UART_Init(void)
{

  huart1.Instance = USART1;
  huart1.Init.BaudRate = 115200;
  huart1.Init.WordLength = UART_WORDLENGTH_8B;
  huart1.Init.StopBits = UART_STOPBITS_1;
  huart1.Init.Parity = UART_PARITY_NONE;
  huart1.Init.Mode = UART_MODE_TX_RX;
  huart1.Init.HwFlowCtl = UART_HWCONTROL_NONE;
  huart1.Init.OverSampling = UART_OVERSAMPLING_16;
  if (HAL_UART_Init(&huart1) != HAL_OK)
  {
    Error_Handler();
  }

}

static void MX_USART2_UART_Init(void)
{

  huart2.Instance = USART2;
  huart2.Init.BaudRate = 115200;
  huart2.Init.WordLength = UART_WORDLENGTH_8B;
  huart2.Init.StopBits = UART_STOPBITS_1;
  huart2.Init.Parity = UART_PARITY_NONE;
  huart2.Init.Mode = UART_MODE_TX_RX;
  huart2.Init.HwFlowCtl = UART_HWCONTROL_NONE;
  huart2.Init.OverSampling = UART_OVERSAMPLING_16;
  if (HAL_UART_Init(&huart2) != HAL_OK)
  {
    Error_Handler();
  }

}

static void MX_DMA_Init(void)
{

  /* DMA controller clock enable */
  __HAL_RCC_DMA1_CLK_ENABLE();

  /* DMA interrupt init */
  /* DMA1_Stream1_IRQn interrupt configuration */
  HAL_NVIC_SetPriority(DMA1_Stream1_IRQn, 0, 0);
  HAL_NVIC_EnableIRQ(DMA1_Stream1_IRQn);
  /* DMA1_Stream6_IRQn interrupt configuration */
  HAL_NVIC_SetPriority(DMA1_Stream6_IRQn, 0, 0);
  HAL_NVIC_EnableIRQ(DMA1_Stream6_IRQn);

}

static void MX_GPIO_Init(void)
{
  GPIO_InitTypeDef GPIO_InitStruct = {0};

  /* GPIO Ports Clock Enable */
  __HAL_RCC_GPIOC_CLK_ENABLE();
  __HAL_RCC_GPIOH_CLK_ENABLE();
  __HAL_RCC_GPIOA_CLK_ENABLE();
  __HAL_RCC_GPIOB_CLK_ENABLE();
  __HAL_RCC_GPIOD_CLK_ENABLE();

  /*Configure GPIO pin Output Level */
  HAL_GPIO_WritePin(GPIOA, LD2_Pin|to_S_SV4_Pin|to_O_SV3_Pin, GPIO_PIN_RESET);

  /*Configure GPIO pin Output Level */
  HAL_GPIO_WritePin(GPIOB, to_N_SV8_Pin|to_W_SV5_Pin, GPIO_PIN_RESET);

  /*Configure GPIO pin Output Level */
  HAL_GPIO_WritePin(GPIOC, up_Pin|down_Pin|speed_Pin, GPIO_PIN_RESET);

  /*Configure GPIO pin : B1_Pin */
  GPIO_InitStruct.Pin = B1_Pin;
  GPIO_InitStruct.Mode = GPIO_MODE_IT_FALLING;
  GPIO_InitStruct.Pull = GPIO_NOPULL;
  HAL_GPIO_Init(B1_GPIO_Port, &GPIO_InitStruct);

  /*Configure GPIO pin : button_down_Pin */
  GPIO_InitStruct.Pin = button_down_Pin;
  GPIO_InitStruct.Mode = GPIO_MODE_IT_FALLING;
  GPIO_InitStruct.Pull = GPIO_NOPULL;
  HAL_GPIO_Init(button_down_GPIO_Port, &GPIO_InitStruct);

  /*Configure GPIO pins : LD2_Pin to_S_SV4_Pin to_O_SV3_Pin */
  GPIO_InitStruct.Pin = LD2_Pin|to_S_SV4_Pin|to_O_SV3_Pin;
  GPIO_InitStruct.Mode = GPIO_MODE_OUTPUT_PP;
  GPIO_InitStruct.Pull = GPIO_NOPULL;
  GPIO_InitStruct.Speed = GPIO_SPEED_FREQ_LOW;
  HAL_GPIO_Init(GPIOA, &GPIO_InitStruct);

  /*Configure GPIO pins : to_N_SV8_Pin to_W_SV5_Pin */
  GPIO_InitStruct.Pin = to_N_SV8_Pin|to_W_SV5_Pin;
  GPIO_InitStruct.Mode = GPIO_MODE_OUTPUT_PP;
  GPIO_InitStruct.Pull = GPIO_NOPULL;
  GPIO_InitStruct.Speed = GPIO_SPEED_FREQ_LOW;
  HAL_GPIO_Init(GPIOB, &GPIO_InitStruct);

  /*Configure GPIO pins : up_Pin down_Pin speed_Pin */
  GPIO_InitStruct.Pin = up_Pin|down_Pin|speed_Pin;
  GPIO_InitStruct.Mode = GPIO_MODE_OUTPUT_PP;
  GPIO_InitStruct.Pull = GPIO_NOPULL;
  GPIO_InitStruct.Speed = GPIO_SPEED_FREQ_LOW;
  HAL_GPIO_Init(GPIOC, &GPIO_InitStruct);

  /*Configure GPIO pins : from_N_LS1_Pin from_O_LS2_Pin from_S_LS3_Pin */
  GPIO_InitStruct.Pin = from_N_LS1_Pin|from_O_LS2_Pin|from_S_LS3_Pin;
  GPIO_InitStruct.Mode = GPIO_MODE_IT_RISING;
  GPIO_InitStruct.Pull = GPIO_PULLDOWN;
  HAL_GPIO_Init(GPIOC, &GPIO_InitStruct);

  /*Configure GPIO pin : from_W_LS4_Pin */
  GPIO_InitStruct.Pin = from_W_LS4_Pin;
  GPIO_InitStruct.Mode = GPIO_MODE_IT_RISING;
  GPIO_InitStruct.Pull = GPIO_PULLDOWN;
  HAL_GPIO_Init(from_W_LS4_GPIO_Port, &GPIO_InitStruct);

  /*Configure GPIO pin : button_up_Pin */
  GPIO_InitStruct.Pin = button_up_Pin;
  GPIO_InitStruct.Mode = GPIO_MODE_IT_FALLING;
  GPIO_InitStruct.Pull = GPIO_NOPULL;
  HAL_GPIO_Init(button_up_GPIO_Port, &GPIO_InitStruct);

  /* EXTI interrupt init*/
  HAL_NVIC_SetPriority(EXTI2_IRQn, 0, 0);
  HAL_NVIC_EnableIRQ(EXTI2_IRQn);

  HAL_NVIC_SetPriority(EXTI4_IRQn, 0, 0);
  HAL_NVIC_EnableIRQ(EXTI4_IRQn);

  HAL_NVIC_SetPriority(EXTI9_5_IRQn, 0, 0);
  HAL_NVIC_EnableIRQ(EXTI9_5_IRQn);

  HAL_NVIC_SetPriority(EXTI15_10_IRQn, 0, 0);
  HAL_NVIC_EnableIRQ(EXTI15_10_IRQn);

}

/* USER CODE BEGIN 4 */

void Aufzugfahr(){
	if(direction == up){// Fahrtrichtung aufwärts
		HAL_GPIO_WritePin(GPIOC, down_Pin, 0);
	    HAL_GPIO_WritePin(GPIOC, up_Pin, 1);
		// Set the speed high
		HAL_GPIO_WritePin(GPIOC, speed_Pin, 1);
	}
	if(direction == down){// Fahrtrichtung abwärts
		HAL_GPIO_WritePin(GPIOC, up_Pin, 0);
		HAL_GPIO_WritePin(GPIOC, down_Pin, 1);
		// Set the speed high
		HAL_GPIO_WritePin(GPIOC, speed_Pin, 1);
	}
}

void resetData(){
	packageId = 0;
	partnerId = 0;
	errorId = 0;
	receive = false;
	passOn = false;
	create = false;
	deliver = false;
	poll = false;
	await = false;
	ApNr = 0;
	failure = false;
	finishedStore = false;
	finishedSend = false;
	receivedSDU = false;
	GPIO_neighbour_in = false;
	pushedButton = false;
	fromId = -1; ///hallo
	toId = -1; ///hallo
	direction = down;	//damit aufzug im nächsten Schritt wieder runter in default fährt
	positionReached = false; //
}

void forwardReset(void) {
	await = FALSE;
	pushedButton = FALSE;
	direction = down;
	positionReached = false;
}

void L1_receive(uint8_t L1_PDU[L1_PDU_size]) {
	uint8_t L1_SDU[L1_SDU_size];
    memcpy(L1_SDU, &L1_PDU[1], L1_SDU_size);
    HAL_UART_Receive_IT(&huart1, rxBuffer, sizeof(rxBuffer));
    L2_receive(L1_SDU);
}

void L2_receive(uint8_t L2_PDU[L2_PDU_size]){
	 uint8_t receivedChecksum = L2_PDU[L2_SDU_size];
	    uint8_t calculatedChecksum = 0;
	    for (uint8_t i = 0; i < L2_SDU_size; i++) {
	        calculatedChecksum += L2_PDU[i];
	    }
	    calculatedChecksum = ~calculatedChecksum;
	    if (calculatedChecksum == receivedChecksum) {
	        uint8_t L2_SDU[L2_SDU_size];
	        for (uint8_t i = 0; i < L2_SDU_size; i++) {
	            L2_SDU[i] = L2_PDU[i];
	        }
	        L3_receive(L2_SDU);
	    } else {
	    	uartDataSendable = 1;
	    }

}

void L3_receive(uint8_t L3_PDU[L3_PDU_size]){
	uint8_t to = L3_PDU[0];
	uint8_t from = L3_PDU[1];
	uint8_t vers = L3_PDU[2];
	uint8_t hops = L3_PDU[3];
	if (vers != 6) {
	    return;
	}
    if (to == 0 && from == 0) {
        return;
    }
    if (to == myAddress && from == 0) {
        uint8_t L3_SDU[L3_SDU_size];
        memcpy(L3_SDU, &L3_PDU[4], L3_SDU_size);
        L7_receive(L3_SDU);
    }else{// if (to != myAddress && to != 0 && from == 0) { //Mit if-Bed. funktioniert Master nicht
	     hops++;
	     L3_PDU[3] = hops;
	     L2_send(L3_PDU);
	}
}

void L7_receive(uint8_t L7_PDU[L7_PDU_size]){
 	uint8_t L7_SDU[L7_SDU_size] = {0};
 	uint8_t L7_SDU_send[L7_SDU_size] = {0}; // information to send back

 	for(int i = 0; i < L7_SDU_size; i++){ // remove first byte (ApNr) to get L7_SDU
 		L7_SDU[i] = L7_PDU[i+1];
 	}

 	// ApNr 42
 	// await / create package
 	// send back received L7_SDU
 	if(L7_PDU[0] == 42){
 		ApNr_42(L7_SDU, L7_SDU_send);
 		L7_send(42, L7_SDU_send);
 	}

 	// ApNr 43
 	// forward package
 	// send back received L7_SDU ///hallo
 	if(L7_PDU[0] == 43){
 		ApNr_43(L7_SDU, L7_SDU_send);
 		L7_send(43, L7_SDU_send);
 	}

 	// ApNr 44
 	// pass on / deliver package
 	// send back received L7_SDU
 	if(L7_PDU[0] == 44){
 	  	ApNr_44(L7_SDU, L7_SDU_send);
 	  	L7_send(44, L7_SDU_send);
 	}

 	// ApNr 50
 	// poll status
 	if(L7_PDU[0] == 50){
 		ApNr_50(L7_SDU, L7_SDU_send);
 		L7_send(50, L7_SDU_send);
 	}

 	uartDataSendable = true;  // ApNr invalid (unknown) -> discard packet
 	HAL_UART_Receive_IT(&huart1, rxBuffer, sizeof(rxBuffer)); // Attach interrupt to receive L1_PDU from USART
}

void L7_send(uint8_t Id, uint8_t L7_SDU[L7_SDU_size]){
	uint8_t L7_PDU[L7_PDU_size];
	L7_PDU[0] = Id;
	memcpy(&L7_PDU[1], L7_SDU, L7_SDU_size);
	L3_send(L7_PDU);
}

void L3_send(uint8_t L3_SDU[L3_SDU_size]){
	uint8_t L3_PDU[L3_PDU_size];
	// Setzen der PCI
	L3_PDU[0] = 0;           // To-Feld: Adresse 0(Master)
	L3_PDU[1] = myAddress;   // From-Feld: Eigene Adresse
	L3_PDU[2] = 6;           // Version: 6
	L3_PDU[3] = 0;           // Hop Counter: 0
	// SDU->PDU
	memcpy(&L3_PDU[4], L3_SDU, L3_SDU_size);
	L2_send(L3_PDU);
}

void L2_send(uint8_t L2_SDU[L2_SDU_size]){
	uint8_t L2_PDU[L2_PDU_size];
		memcpy(L2_PDU, L2_SDU, L2_SDU_size);
		uint8_t checksum = 0;
		for (uint8_t i = 0; i < L2_SDU_size; i++) {
		    checksum += L2_SDU[i];
		}
		checksum = ~checksum;
		L2_PDU[L2_SDU_size] = checksum;
		L1_send(L2_PDU);
}

void L1_send(uint8_t L1_SDU[L1_SDU_size]){
	 uint8_t L1_PDU[L1_PDU_size];
	 L1_PDU[0] = 0;
	 // SDU->PDU
	 memcpy(&L1_PDU[1], L1_SDU, L1_SDU_size);
	 L1_PDU[15] = 0;
	 HAL_UART_Transmit_IT(&huart1, L1_PDU, L1_PDU_size);
}

void HAL_UART_RxCpltCallback(UART_HandleTypeDef *huart) {
	 if (huart->Instance == USART1) {
		 for(int i = 0; i < L1_PDU_size; i++){ // copy received packet from buffer
		 			L1_PDU[i] = rxBuffer[i];
		 		}
	    }
	 HAL_UART_Receive_IT(&huart1, rxBuffer, L1_PDU_size); // Attach interrupt to receive L1_PDU from USART
	 L1_receive(L1_PDU);
}

void HAL_UART_TxCpltCallback(UART_HandleTypeDef *huart) {
    if (huart->Instance == USART1) {
    	uartDataSendable = true;
    }
}

void HAL_GPIO_EXTI_Callback(uint16_t GPIO_Pin) {
	if (GPIO_Pin == B1_Pin) {
	        uint32_t currentTime = HAL_GetTick();

	       if ((currentTime - lastDebounceTime) > debounceDelay) {
	            cnt++;
	        	pushedButton = true;
	            lastDebounceTime = currentTime;
	        }
	}

	//Communication with Neighbours
	if((GPIO_Pin == from_N_LS1_Pin) && (neighbourIDs[1] == partnerId)){
	        GPIO_neighbour_in = TRUE;
	}

	if((GPIO_Pin == from_O_LS2_Pin) && (neighbourIDs[2] == partnerId)){
	        GPIO_neighbour_in = TRUE;
	}

	if((GPIO_Pin == from_S_LS3_Pin) && (neighbourIDs[0] == partnerId)){
			GPIO_neighbour_in = TRUE;
	}

	if((GPIO_Pin == from_W_LS4_Pin) && (neighbourIDs[3] == partnerId)){
	        GPIO_neighbour_in = TRUE;
	}

	//Elevator
	if(GPIO_Pin == button_down_Pin){
		uint32_t currentTime = HAL_GetTick();
			if((currentTime - lastDebounceTime) > debounceDelay){

				HAL_GPIO_TogglePin (GPIOA, GPIO_PIN_5); //toggle LED for control
			    HAL_GPIO_WritePin(GPIOC, up_Pin, 0); //stop engine
			    HAL_GPIO_WritePin(GPIOC, down_Pin, 0);

			    direction = up; //change direction
			    lastDebounceTime = currentTime;
			}
	}

	if(GPIO_Pin == button_up_Pin){
		uint32_t currentTime = HAL_GetTick();
			if((currentTime - lastDebounceTime) > debounceDelay){

				HAL_GPIO_TogglePin (GPIOA, GPIO_PIN_5); //toggle LED for control
				HAL_GPIO_WritePin(GPIOC, up_Pin, 0); //stop motor
				HAL_GPIO_WritePin(GPIOC, down_Pin, 0);

				direction = down; //change direction
				lastDebounceTime = currentTime;
				positionReached = true;
			}
	}

}

// ApNr 42
// await / create package
// send back received L7_SDU
void ApNr_42(uint8_t L7_SDU[], uint8_t L7_SDU_send[]){
	packageId = L7_SDU[0];
	partnerId = L7_SDU[1];

	receivedSDU = TRUE;
	ApNr = 42;

	if(partnerId != 0){ // partnerId is not 0 -> await new package
		await = TRUE;
	} else { // partnerId is 0 -> create new package
		create = TRUE;
	}

	for(int i = 0; i < L7_SDU_size; i++){ // copy L7_SDU to L7_SDU_send
		L7_SDU_send[i] = L7_SDU[i];
	}
}
// ApNr 43
// forward package
// send back received L7_SDU
///hallo
void ApNr_43(uint8_t L7_SDU[], uint8_t L7_SDU_send[]){
	packageId = L7_SDU[0];
	fromId = L7_SDU[1];
	toId = L7_SDU[2];

	receivedSDU = TRUE;
	ApNr = 43;

	if(fromId != 0 && toId != 0){
		await = TRUE;
		passOn = TRUE;
	}

	for(int i = 0; i < L7_SDU_size; i++){ // copy L7_SDU to L7_SDU_send
		L7_SDU_send[i] = L7_SDU[i];
	}
}
// ApNr 44
// pass on / deliver package
// send back received L7_SDU
void ApNr_44(uint8_t L7_SDU[], uint8_t L7_SDU_send[]){
	packageId = L7_SDU[0];
	partnerId = L7_SDU[1];

	receivedSDU = TRUE;
	ApNr = 44;

	if(partnerId != 0){ // partnerId is not 0 -> passOn package
		passOn = TRUE;
	} else { // partnerId is 0 -> deliver package
		deliver = TRUE;
	}

	for(int i = 0; i < L7_SDU_size; i++){ // copy L7_SDU to L7_SDU_send
		L7_SDU_send[i] = L7_SDU[i];
	}
}

// ApNr 50
// poll status
void ApNr_50(uint8_t L7_SDU[], uint8_t L7_SDU_send[]){
	poll = TRUE;

	L7_SDU_send[0] = state;
	if(state == 4){ // state is failure, send errorId instead of packageId
		L7_SDU_send[1] = errorId;
	} else {
		L7_SDU_send[1] = packageId;
	}
	for(int i = 2; i < L7_SDU_size; i++){ // copy Lager to L7_SDU_send, index 2 to 7
		L7_SDU_send[i] = storage[i-2];
	}
}

/* USER CODE END 4 */

void Error_Handler(void)
{
  __disable_irq();
  while (1)
  {
  }
}
